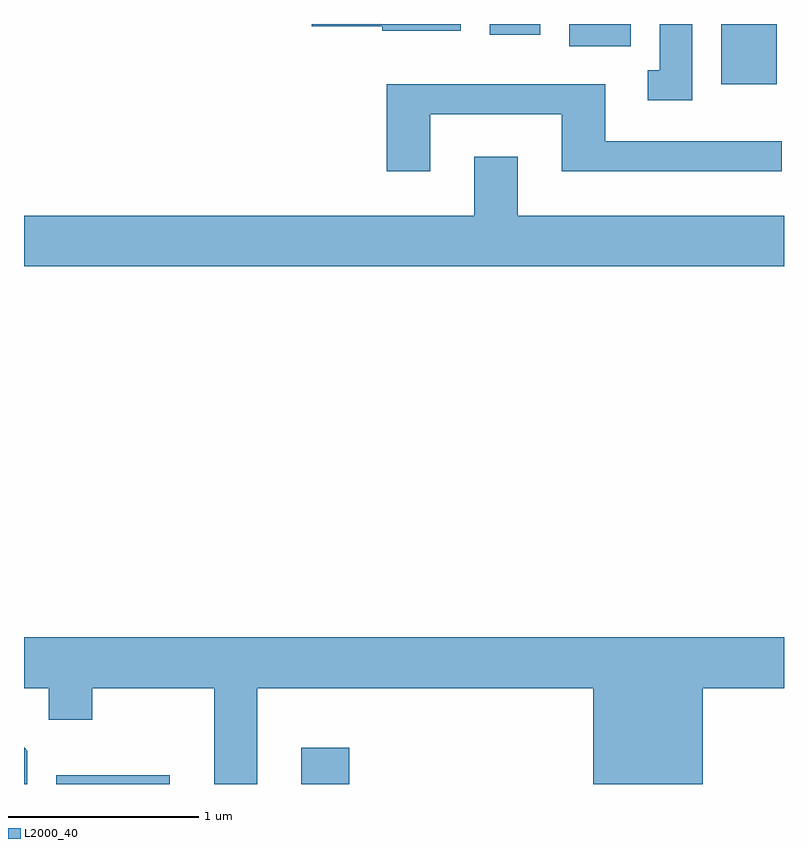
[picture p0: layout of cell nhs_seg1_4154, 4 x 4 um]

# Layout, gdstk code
import gdstk
lib = gdstk.Library(unit=1e-6, precision=1e-09)
def R(c, l, rs):  # rectangles x0, y0, x1, y1
    for r in rs: c.add(gdstk.rectangle(r[:2], r[2:], *l))
def P(c, l, *ps):  # polygons
    for p in ps: c.add(gdstk.Polygon(p, *l))
L2000_40 = (2000, 40)

nhs_seg1_4154 = lib.new_cell('nhs_seg1_4154')
R(nhs_seg1_4154, L2000_40, [(309.781,925.712,310.379,925.759), (311.071,925.712,311.324,925.904), (313.281,929.396,313.574,929.712), (312.481,929.596,312.804,929.712), (312.061,929.656,312.329,929.712)])
P(nhs_seg1_4154, L2000_40, [(313.129,929.712),(312.956,929.712),(312.956,929.469),(312.893,929.469),(312.893,929.311),(313.129,929.311)],
  [(311.909,929.712),(311.126,929.712),(311.126,929.701),(311.496,929.701),(311.496,929.676),(311.909,929.676)],
  [(311.749,929.236),(312.441,929.236),(312.441,928.936),(313.598,928.936),(313.598,929.094),(312.669,929.094),(312.669,929.394),(311.521,929.394),(311.521,928.936),(311.749,928.936)],
  [(313.611,928.704),(312.209,928.704),(312.209,929.014),(311.981,929.014),(311.981,928.704),(309.611,928.704),(309.611,928.436),(313.611,928.436)],
  [(310.839,926.216),(312.606,926.216),(312.606,925.712),(313.184,925.712),(313.184,926.216),(313.611,926.216),(313.611,926.484),(309.611,926.484),(309.611,926.216),(309.741,926.216),(309.741,926.051),(309.969,926.051),(309.969,926.216),(310.611,926.216),(310.611,925.712),(310.839,925.712)],
  [(309.629,925.887),(309.611,925.905),(309.611,925.712),(309.629,925.712)])

lib.write_gds('nhs_seg1_4154.gds')
